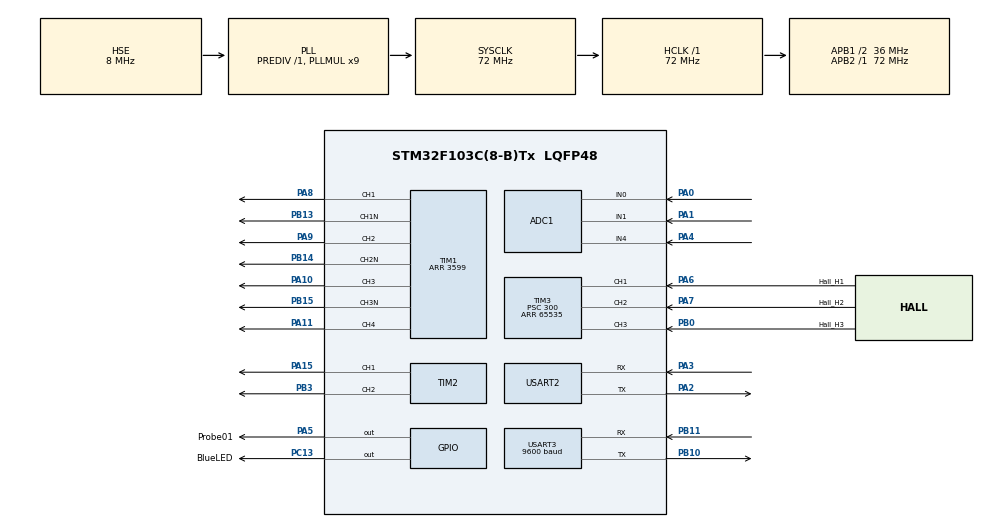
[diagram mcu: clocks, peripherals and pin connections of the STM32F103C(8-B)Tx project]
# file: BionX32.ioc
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ADC1.Channel-0\#ChannelRegularConversion=ADC_CHANNEL_1
ADC1.Channel-14\#ChannelInjectedConversion=ADC_CHANNEL_0
ADC1.Channel-15\#ChannelRegularConversion=ADC_CHANNEL_4
ADC1.Channel-16\#ChannelRegularConversion=ADC_CHANNEL_TEMPSENSOR
ADC1.ContinuousConvMode=ENABLE
ADC1.EnableInjectedConversion=ENABLE
ADC1.ExternalTrigInjecConv=ADC_EXTERNALTRIGINJECCONV_T1_TRGO
ADC1.InjNumberOfConversion=1
ADC1.InjectedOffset-14\#ChannelInjectedConversion=0
ADC1.InjectedRank-14\#ChannelInjectedConversion=1
ADC1.NbrOfConversion=3
ADC1.NbrOfConversionFlag=1
ADC1.Rank-15\#ChannelRegularConversion=2
ADC1.Rank-16\#ChannelRegularConversion=3
ADC1.SamplingTime-0\#ChannelRegularConversion=ADC_SAMPLETIME_28CYCLES_5
ADC1.SamplingTime-14\#ChannelInjectedConversion=ADC_SAMPLETIME_1CYCLE_5
ADC1.SamplingTime-15\#ChannelRegularConversion=ADC_SAMPLETIME_28CYCLES_5
ADC1.SamplingTime-16\#ChannelRegularConversion=ADC_SAMPLETIME_28CYCLES_5
ADC1.master=1
Dma.ADC1.0.Direction=DMA_PERIPH_TO_MEMORY
Dma.ADC1.0.Instance=DMA1_Channel1
Dma.ADC1.0.MemDataAlignment=DMA_MDATAALIGN_WORD
Dma.ADC1.0.MemInc=DMA_MINC_ENABLE
Dma.ADC1.0.Mode=DMA_CIRCULAR
Dma.ADC1.0.PeriphDataAlignment=DMA_PDATAALIGN_WORD
Dma.ADC1.0.PeriphInc=DMA_PINC_DISABLE
Dma.ADC1.0.Priority=DMA_PRIORITY_LOW
Dma.Request0=ADC1
Mcu.Family=STM32F1
Mcu.Name=STM32F103C(8-B)Tx
Mcu.Package=LQFP48
NVIC.ADC1_2_IRQn=true\:0\:0\:false\:false\:true\:true\:true\:true
NVIC.DMA1_Channel1_IRQn=true\:0\:0\:false\:true\:true\:1\:false\:true\:true
NVIC.PriorityGroup=NVIC_PRIORITYGROUP_4
NVIC.TIM3_IRQn=true\:3\:0\:true\:true\:true\:6\:true\:true\:true
NVIC.TIM4_IRQn=true\:0\:0\:false\:false\:true\:true\:true\:true
NVIC.USART2_IRQn=true\:0\:0\:false\:true\:true\:5\:true\:true\:true
NVIC.USART3_IRQn=true\:0\:0\:false\:true\:true\:7\:true\:true\:true
PA0-WKUP.Signal=ADCx_IN0
PA1.Signal=ADCx_IN1
PA10.Signal=S_TIM1_CH3
PA11.Signal=S_TIM1_CH4
PA13.Mode=Serial_Wire
PA13.Signal=SYS_JTMS-SWDIO
PA14.Mode=Serial_Wire
PA14.Signal=SYS_JTCK-SWCLK
PA15.Signal=S_TIM2_CH1_ETR
PA2.Mode=Asynchronous
PA2.Signal=USART2_TX
PA3.Mode=Asynchronous
PA3.Signal=USART2_RX
PA4.Signal=ADCx_IN4
PA5.GPIO_Label=Probe01
PA5.Signal=GPIO_Output
PA6.GPIO_Label=Hall_H1
PA6.Signal=S_TIM3_CH1
PA7.GPIO_Label=Hall_H2
PA7.Signal=S_TIM3_CH2
PA8.Signal=S_TIM1_CH1
PA9.Signal=S_TIM1_CH2
PB0.GPIO_Label=Hall_H3
PB0.Signal=S_TIM3_CH3
PB10.Mode=Asynchronous
PB10.Signal=USART3_TX
PB11.Mode=Asynchronous
PB11.Signal=USART3_RX
PB13.Mode=PWM Generation1 CH1 CH1N
PB13.Signal=TIM1_CH1N
PB14.Mode=PWM Generation2 CH2 CH2N
PB14.Signal=TIM1_CH2N
PB15.Mode=PWM Generation3 CH3 CH3N
PB15.Signal=TIM1_CH3N
PB3.Signal=S_TIM2_CH2
PC13-TAMPER-RTC.GPIO_Label=BlueLED
PC13-TAMPER-RTC.Signal=GPIO_Output
PD0-OSC_IN.Mode=HSE-External-Oscillator
PD0-OSC_IN.Signal=RCC_OSC_IN
PD1-OSC_OUT.Mode=HSE-External-Oscillator
PD1-OSC_OUT.Signal=RCC_OSC_OUT
ProjectManager.HeapSize=0x200
ProjectManager.StackSize=0x400
ProjectManager.TargetToolchain=Makefile
RCC.ADCPresc=RCC_ADCPCLK2_DIV6
RCC.AHBFreq_Value=72000000
RCC.APB1CLKDivider=RCC_HCLK_DIV2
RCC.APB1Freq_Value=36000000
RCC.APB1TimFreq_Value=72000000
RCC.APB2Freq_Value=72000000
RCC.APB2TimFreq_Value=72000000
RCC.HCLKFreq_Value=72000000
RCC.PLLMUL=RCC_PLL_MUL9
RCC.PLLSourceVirtual=RCC_PLLSOURCE_HSE
RCC.SYSCLKFreq_VALUE=72000000
RCC.SYSCLKSource=RCC_SYSCLKSOURCE_PLLCLK
RCC.USBFreq_Value=72000000
SH.ADCx_IN0.0=ADC1_IN0,IN0
SH.ADCx_IN1.0=ADC1_IN1,IN1
SH.ADCx_IN4.0=ADC1_IN4,IN4
SH.S_TIM1_CH1.0=TIM1_CH1,PWM Generation1 CH1 CH1N
SH.S_TIM1_CH2.0=TIM1_CH2,PWM Generation2 CH2 CH2N
SH.S_TIM1_CH3.0=TIM1_CH3,PWM Generation3 CH3 CH3N
SH.S_TIM1_CH4.0=TIM1_CH4,PWM Generation4 CH4
SH.S_TIM2_CH1_ETR.0=TIM2_CH1,PWM Generation1 CH1
SH.S_TIM2_CH2.0=TIM2_CH2,PWM Generation2 CH2
SH.S_TIM3_CH1.0=TIM3_CH1,Xored_Inputs_Hall_Sensor_Interface
SH.S_TIM3_CH2.0=TIM3_CH2,Xored_Inputs_Hall_Sensor_Interface
SH.S_TIM3_CH3.0=TIM3_CH3,Xored_Inputs_Hall_Sensor_Interface
TIM1.Channel-PWM\ Generation1\ CH1\ CH1N=TIM_CHANNEL_1
TIM1.Channel-PWM\ Generation2\ CH2\ CH2N=TIM_CHANNEL_2
TIM1.Channel-PWM\ Generation3\ CH3\ CH3N=TIM_CHANNEL_3
TIM1.Channel-PWM\ Generation4\ CH4=TIM_CHANNEL_4
TIM1.CounterMode=TIM_COUNTERMODE_CENTERALIGNED3
TIM1.DeadTime=72
TIM1.OCNIdleState_1=TIM_OCNIDLESTATE_SET
TIM1.OCNIdleState_2=TIM_OCNIDLESTATE_SET
TIM1.OCNIdleState_3=TIM_OCNIDLESTATE_SET
TIM1.OCNPolarity_1=TIM_OCNPOLARITY_LOW
TIM1.OCNPolarity_2=TIM_OCNPOLARITY_LOW
TIM1.OCNPolarity_3=TIM_OCNPOLARITY_LOW
TIM1.Period=3599
TIM1.Pulse-PWM\ Generation1\ CH1\ CH1N=1800
TIM1.Pulse-PWM\ Generation2\ CH2\ CH2N=1800
TIM1.Pulse-PWM\ Generation3\ CH3\ CH3N=1800
TIM1.TIM_MasterOutputTrigger=TIM_TRGO_OC4REF
TIM2.Channel-PWM\ Generation1\ CH1=TIM_CHANNEL_1
TIM2.Channel-PWM\ Generation2\ CH2=TIM_CHANNEL_2
TIM3.IC1Filter=MOTOR_HALL_IC_FILTER
TIM3.Period=65535
TIM3.Prescaler=300
TIM4.Period=300
TIM4.Prescaler=999
USART2.VirtualMode=VM_ASYNC
USART3.BaudRate=9600
USART3.VirtualMode=VM_ASYNC
VP_ADC1_TempSens_Input.Mode=IN-TempSens
VP_TIM3_VS_ClockSourceINT.Mode=Internal
VP_TIM4_VS_ClockSourceINT.Mode=Internal
board=custom

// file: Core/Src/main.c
/* USER CODE BEGIN Header */
/**
  ******************************************************************************
  * @file           : main.c
  * @brief          : Main program body
  ******************************************************************************
  * @attention
  *
  * Copyright (c) 2025 STMicroelectronics.
  * All rights reserved.
  *
  * This software is licensed under terms that can be found in the LICENSE file
  * in the root directory of this software component.
  * If no LICENSE file comes with this software, it is provided AS-IS.
  *
  ******************************************************************************
  */
/* USER CODE END Header */
#include "main.h"

/* USER CODE BEGIN Includes */
#include "UART_Printf.h"
#include "motorControl.h"
#include "busVoltageSensor.h"
#include "eBikeMain.h"

#include "display.h"

/* USER CODE END Includes */

ADC_HandleTypeDef hadc1;
DMA_HandleTypeDef hdma_adc1;

TIM_HandleTypeDef htim1;
TIM_HandleTypeDef htim2;
TIM_HandleTypeDef htim3;
TIM_HandleTypeDef htim4;

UART_HandleTypeDef huart2;
UART_HandleTypeDef huart3;

void SystemClock_Config(void);
static void MX_GPIO_Init(void);
static void MX_DMA_Init(void);
static void MX_USART2_UART_Init(void);
static void MX_USART3_UART_Init(void);
static void MX_ADC1_Init(void);
static void MX_TIM1_Init(void);
static void MX_TIM2_Init(void);
static void MX_TIM3_Init(void);
static void MX_TIM4_Init(void);
static void MX_NVIC_Init(void);
/* USER CODE BEGIN PFP */
static void BlueLed_Flashing(int n0, int n1);
/* USER CODE END PFP */

int main(void)
{

  /* MCU Configuration--------------------------------------------------------*/

  /* Reset of all peripherals, Initializes the Flash interface and the Systick. */
  HAL_Init();

  /* Configure the system clock */
  SystemClock_Config();

  /* Initialize all configured peripherals */
  MX_GPIO_Init();
  MX_DMA_Init();
  MX_USART2_UART_Init();
  MX_USART3_UART_Init();
  MX_ADC1_Init();
  MX_TIM1_Init();
  MX_TIM2_Init();
  MX_TIM3_Init();
  MX_TIM4_Init();

  /* Initialize interrupts */
  MX_NVIC_Init();
  /* USER CODE BEGIN 2 */

  UART_printf( "******* BIONX MOTOR version 1.00 *********\r\n");

  eBikeInit();

  /* USER CODE END 2 */

  /* Infinite loop */
  /* USER CODE BEGIN WHILE */
  while (1)
  {
    eBikeMainLoop();
    /* USER CODE END WHILE */

    /* USER CODE BEGIN 3 */
    Error_Handler();
  }
  /* USER CODE END 3 */
}

void SystemClock_Config(void)
{
  RCC_OscInitTypeDef RCC_OscInitStruct = {0};
  RCC_ClkInitTypeDef RCC_ClkInitStruct = {0};
  RCC_PeriphCLKInitTypeDef PeriphClkInit = {0};

  /** Initializes the RCC Oscillators according to the specified parameters
  * in the RCC_OscInitTypeDef structure.
  */
  RCC_OscInitStruct.OscillatorType = RCC_OSCILLATORTYPE_HSE;
  RCC_OscInitStruct.HSEState = RCC_HSE_ON;
  RCC_OscInitStruct.HSEPredivValue = RCC_HSE_PREDIV_DIV1;
  RCC_OscInitStruct.HSIState = RCC_HSI_ON;
  RCC_OscInitStruct.PLL.PLLState = RCC_PLL_ON;
  RCC_OscInitStruct.PLL.PLLSource = RCC_PLLSOURCE_HSE;
  RCC_OscInitStruct.PLL.PLLMUL = RCC_PLL_MUL9;
  if (HAL_RCC_OscConfig(&RCC_OscInitStruct) != HAL_OK)
  {
    Error_Handler();
  }

  /** Initializes the CPU, AHB and APB buses clocks
  */
  RCC_ClkInitStruct.ClockType = RCC_CLOCKTYPE_HCLK|RCC_CLOCKTYPE_SYSCLK
                              |RCC_CLOCKTYPE_PCLK1|RCC_CLOCKTYPE_PCLK2;
  RCC_ClkInitStruct.SYSCLKSource = RCC_SYSCLKSOURCE_PLLCLK;
  RCC_ClkInitStruct.AHBCLKDivider = RCC_SYSCLK_DIV1;
  RCC_ClkInitStruct.APB1CLKDivider = RCC_HCLK_DIV2;
  RCC_ClkInitStruct.APB2CLKDivider = RCC_HCLK_DIV1;

  if (HAL_RCC_ClockConfig(&RCC_ClkInitStruct, FLASH_LATENCY_2) != HAL_OK)
  {
    Error_Handler();
  }
  PeriphClkInit.PeriphClockSelection = RCC_PERIPHCLK_ADC;
  PeriphClkInit.AdcClockSelection = RCC_ADCPCLK2_DIV6;
  if (HAL_RCCEx_PeriphCLKConfig(&PeriphClkInit) != HAL_OK)
  {
    Error_Handler();
  }
}

/**
  * @brief NVIC Configuration.
  * @retval None
  */
static void MX_NVIC_Init(void)
{
  /* DMA1_Channel1_IRQn interrupt configuration */
  HAL_NVIC_SetPriority(DMA1_Channel1_IRQn, 0, 0);
  HAL_NVIC_EnableIRQ(DMA1_Channel1_IRQn);
  /* USART2_IRQn interrupt configuration */
  HAL_NVIC_SetPriority(USART2_IRQn, 0, 0);
  HAL_NVIC_EnableIRQ(USART2_IRQn);
  /* TIM3_IRQn interrupt configuration */
  HAL_NVIC_SetPriority(TIM3_IRQn, 3, 0);
  HAL_NVIC_EnableIRQ(TIM3_IRQn);
  /* USART3_IRQn interrupt configuration */
  HAL_NVIC_SetPriority(USART3_IRQn, 0, 0);
  HAL_NVIC_EnableIRQ(USART3_IRQn);
}

static void MX_ADC1_Init(void)
{

  ADC_InjectionConfTypeDef sConfigInjected = {0};
  ADC_ChannelConfTypeDef sConfig = {0};

  /** Common config
  */
  hadc1.Instance = ADC1;
  hadc1.Init.ScanConvMode = ADC_SCAN_ENABLE;
  hadc1.Init.ContinuousConvMode = ENABLE;
  hadc1.Init.DiscontinuousConvMode = DISABLE;
  hadc1.Init.ExternalTrigConv = ADC_SOFTWARE_START;
  hadc1.Init.DataAlign = ADC_DATAALIGN_RIGHT;
  hadc1.Init.NbrOfConversion = 3;
  if (HAL_ADC_Init(&hadc1) != HAL_OK)
  {
    Error_Handler();
  }

  /** Configure Injected Channel
  */
  sConfigInjected.InjectedChannel = ADC_CHANNEL_0;
  sConfigInjected.InjectedRank = ADC_INJECTED_RANK_1;
  sConfigInjected.InjectedNbrOfConversion = 1;
  sConfigInjected.InjectedSamplingTime = ADC_SAMPLETIME_1CYCLE_5;
  sConfigInjected.ExternalTrigInjecConv = ADC_EXTERNALTRIGINJECCONV_T1_TRGO;
  sConfigInjected.AutoInjectedConv = DISABLE;
  sConfigInjected.InjectedDiscontinuousConvMode = DISABLE;
  sConfigInjected.InjectedOffset = 0;
  if (HAL_ADCEx_InjectedConfigChannel(&hadc1, &sConfigInjected) != HAL_OK)
  {
    Error_Handler();
  }

  /** Configure Regular Channel
  */
  sConfig.Channel = ADC_CHANNEL_1;
  sConfig.Rank = ADC_REGULAR_RANK_1;
  sConfig.SamplingTime = ADC_SAMPLETIME_28CYCLES_5;
  if (HAL_ADC_ConfigChannel(&hadc1, &sConfig) != HAL_OK)
  {
    Error_Handler();
  }

  /** Configure Regular Channel
  */
  sConfig.Channel = ADC_CHANNEL_4;
  sConfig.Rank = ADC_REGULAR_RANK_2;
  if (HAL_ADC_ConfigChannel(&hadc1, &sConfig) != HAL_OK)
  {
    Error_Handler();
  }

  /** Configure Regular Channel
  */
  sConfig.Channel = ADC_CHANNEL_TEMPSENSOR;
  sConfig.Rank = ADC_REGULAR_RANK_3;
  if (HAL_ADC_ConfigChannel(&hadc1, &sConfig) != HAL_OK)
  {
    Error_Handler();
  }

}

static void MX_TIM1_Init(void)
{

  TIM_MasterConfigTypeDef sMasterConfig = {0};
  TIM_OC_InitTypeDef sConfigOC = {0};
  TIM_BreakDeadTimeConfigTypeDef sBreakDeadTimeConfig = {0};

  htim1.Instance = TIM1;
  htim1.Init.Prescaler = 0;
  htim1.Init.CounterMode = TIM_COUNTERMODE_CENTERALIGNED3;
  htim1.Init.Period = 3599;
  htim1.Init.ClockDivision = TIM_CLOCKDIVISION_DIV1;
  htim1.Init.RepetitionCounter = 0;
  htim1.Init.AutoReloadPreload = TIM_AUTORELOAD_PRELOAD_DISABLE;
  if (HAL_TIM_PWM_Init(&htim1) != HAL_OK)
  {
    Error_Handler();
  }
  sMasterConfig.MasterOutputTrigger = TIM_TRGO_OC4REF;
  sMasterConfig.MasterSlaveMode = TIM_MASTERSLAVEMODE_DISABLE;
  if (HAL_TIMEx_MasterConfigSynchronization(&htim1, &sMasterConfig) != HAL_OK)
  {
    Error_Handler();
  }
  sConfigOC.OCMode = TIM_OCMODE_PWM1;
  sConfigOC.Pulse = 1800;
  sConfigOC.OCPolarity = TIM_OCPOLARITY_HIGH;
  sConfigOC.OCNPolarity = TIM_OCNPOLARITY_LOW;
  sConfigOC.OCFastMode = TIM_OCFAST_DISABLE;
  sConfigOC.OCIdleState = TIM_OCIDLESTATE_RESET;
  sConfigOC.OCNIdleState = TIM_OCNIDLESTATE_SET;
  if (HAL_TIM_PWM_ConfigChannel(&htim1, &sConfigOC, TIM_CHANNEL_1) != HAL_OK)
  {
    Error_Handler();
  }
  if (HAL_TIM_PWM_ConfigChannel(&htim1, &sConfigOC, TIM_CHANNEL_2) != HAL_OK)
  {
    Error_Handler();
  }
  if (HAL_TIM_PWM_ConfigChannel(&htim1, &sConfigOC, TIM_CHANNEL_3) != HAL_OK)
  {
    Error_Handler();
  }
  sConfigOC.Pulse = 0;
  sConfigOC.OCNIdleState = TIM_OCNIDLESTATE_RESET;
  if (HAL_TIM_PWM_ConfigChannel(&htim1, &sConfigOC, TIM_CHANNEL_4) != HAL_OK)
  {
    Error_Handler();
  }
  sBreakDeadTimeConfig.OffStateRunMode = TIM_OSSR_DISABLE;
  sBreakDeadTimeConfig.OffStateIDLEMode = TIM_OSSI_DISABLE;
  sBreakDeadTimeConfig.LockLevel = TIM_LOCKLEVEL_OFF;
  sBreakDeadTimeConfig.DeadTime = 72;
  sBreakDeadTimeConfig.BreakState = TIM_BREAK_DISABLE;
  sBreakDeadTimeConfig.BreakPolarity = TIM_BREAKPOLARITY_HIGH;
  sBreakDeadTimeConfig.AutomaticOutput = TIM_AUTOMATICOUTPUT_DISABLE;
  if (HAL_TIMEx_ConfigBreakDeadTime(&htim1, &sBreakDeadTimeConfig) != HAL_OK)
  {
    Error_Handler();
  }
  HAL_TIM_MspPostInit(&htim1);

}

static void MX_TIM2_Init(void)
{

  TIM_MasterConfigTypeDef sMasterConfig = {0};
  TIM_OC_InitTypeDef sConfigOC = {0};

  htim2.Instance = TIM2;
  htim2.Init.Prescaler = 0;
  htim2.Init.CounterMode = TIM_COUNTERMODE_UP;
  htim2.Init.Period = 65535;
  htim2.Init.ClockDivision = TIM_CLOCKDIVISION_DIV1;
  htim2.Init.AutoReloadPreload = TIM_AUTORELOAD_PRELOAD_DISABLE;
  if (HAL_TIM_PWM_Init(&htim2) != HAL_OK)
  {
    Error_Handler();
  }
  sMasterConfig.MasterOutputTrigger = TIM_TRGO_RESET;
  sMasterConfig.MasterSlaveMode = TIM_MASTERSLAVEMODE_DISABLE;
  if (HAL_TIMEx_MasterConfigSynchronization(&htim2, &sMasterConfig) != HAL_OK)
  {
    Error_Handler();
  }
  sConfigOC.OCMode = TIM_OCMODE_PWM1;
  sConfigOC.Pulse = 0;
  sConfigOC.OCPolarity = TIM_OCPOLARITY_HIGH;
  sConfigOC.OCFastMode = TIM_OCFAST_DISABLE;
  if (HAL_TIM_PWM_ConfigChannel(&htim2, &sConfigOC, TIM_CHANNEL_1) != HAL_OK)
  {
    Error_Handler();
  }
  if (HAL_TIM_PWM_ConfigChannel(&htim2, &sConfigOC, TIM_CHANNEL_2) != HAL_OK)
  {
    Error_Handler();
  }
  HAL_TIM_MspPostInit(&htim2);

}

static void MX_TIM3_Init(void)
{

  TIM_ClockConfigTypeDef sClockSourceConfig = {0};
  TIM_HallSensor_InitTypeDef sConfig = {0};
  TIM_MasterConfigTypeDef sMasterConfig = {0};

  /* USER CODE BEGIN TIM3_Init 1 */
    // See https://deepbluembedded.com/stm32-timer-calculator/
  /* USER CODE END TIM3_Init 1 */
  htim3.Instance = TIM3;
  htim3.Init.Prescaler = 300;
  htim3.Init.CounterMode = TIM_COUNTERMODE_UP;
  htim3.Init.Period = 65535;
  htim3.Init.ClockDivision = TIM_CLOCKDIVISION_DIV1;
  htim3.Init.AutoReloadPreload = TIM_AUTORELOAD_PRELOAD_DISABLE;
  if (HAL_TIM_Base_Init(&htim3) != HAL_OK)
  {
    Error_Handler();
  }
  sClockSourceConfig.ClockSource = TIM_CLOCKSOURCE_INTERNAL;
  if (HAL_TIM_ConfigClockSource(&htim3, &sClockSourceConfig) != HAL_OK)
  {
    Error_Handler();
  }
  sConfig.IC1Polarity = TIM_ICPOLARITY_RISING;
  sConfig.IC1Prescaler = TIM_ICPSC_DIV1;
  sConfig.IC1Filter = MOTOR_HALL_IC_FILTER;
  sConfig.Commutation_Delay = 0;
  if (HAL_TIMEx_HallSensor_Init(&htim3, &sConfig) != HAL_OK)
  {
    Error_Handler();
  }
  sMasterConfig.MasterOutputTrigger = TIM_TRGO_OC2REF;
  sMasterConfig.MasterSlaveMode = TIM_MASTERSLAVEMODE_DISABLE;
  if (HAL_TIMEx_MasterConfigSynchronization(&htim3, &sMasterConfig) != HAL_OK)
  {
    Error_Handler();
  }

}

static void MX_TIM4_Init(void)
{

  /* USER CODE BEGIN TIM4_Init 0 */

   // Tout = ((ARR+1)*(PSC+1)) / 72E6

  /* USER CODE END TIM4_Init 0 */

  TIM_ClockConfigTypeDef sClockSourceConfig = {0};
  TIM_MasterConfigTypeDef sMasterConfig = {0};

  htim4.Instance = TIM4;
  htim4.Init.Prescaler = 300;
  htim4.Init.CounterMode = TIM_COUNTERMODE_UP;
  htim4.Init.Period = 300;
  htim4.Init.ClockDivision = TIM_CLOCKDIVISION_DIV1;
  htim4.Init.AutoReloadPreload = TIM_AUTORELOAD_PRELOAD_DISABLE;
  if (HAL_TIM_Base_Init(&htim4) != HAL_OK)
  {
    Error_Handler();
  }
  sClockSourceConfig.ClockSource = TIM_CLOCKSOURCE_INTERNAL;
  if (HAL_TIM_ConfigClockSource(&htim4, &sClockSourceConfig) != HAL_OK)
  {
    Error_Handler();
  }
  sMasterConfig.MasterOutputTrigger = TIM_TRGO_RESET;
  sMasterConfig.MasterSlaveMode = TIM_MASTERSLAVEMODE_DISABLE;
  if (HAL_TIMEx_MasterConfigSynchronization(&htim4, &sMasterConfig) != HAL_OK)
  {
    Error_Handler();
  }

}

static void MX_USART2_UART_Init(void)
{

  huart2.Instance = USART2;
  huart2.Init.BaudRate = 115200;
  huart2.Init.WordLength = UART_WORDLENGTH_8B;
  huart2.Init.StopBits = UART_STOPBITS_1;
  huart2.Init.Parity = UART_PARITY_NONE;
  huart2.Init.Mode = UART_MODE_TX_RX;
  huart2.Init.HwFlowCtl = UART_HWCONTROL_NONE;
  huart2.Init.OverSampling = UART_OVERSAMPLING_16;
  if (HAL_UART_Init(&huart2) != HAL_OK)
  {
    Error_Handler();
  }
  /* USER CODE BEGIN USART2_Init 2 */
    PrintfEndOfTx();
  /* USER CODE END USART2_Init 2 */

}

static void MX_USART3_UART_Init(void)
{

  huart3.Instance = USART3;
  huart3.Init.BaudRate = 9600;
  huart3.Init.WordLength = UART_WORDLENGTH_8B;
  huart3.Init.StopBits = UART_STOPBITS_1;
  huart3.Init.Parity = UART_PARITY_NONE;
  huart3.Init.Mode = UART_MODE_TX_RX;
  huart3.Init.HwFlowCtl = UART_HWCONTROL_NONE;
  huart3.Init.OverSampling = UART_OVERSAMPLING_16;
  if (HAL_UART_Init(&huart3) != HAL_OK)
  {
    Error_Handler();
  }
  /* USER CODE BEGIN USART3_Init 2 */

  displayInitRxTx();

  /* USER CODE END USART3_Init 2 */

}

static void MX_DMA_Init(void)
{

  /* DMA controller clock enable */
  __HAL_RCC_DMA1_CLK_ENABLE();

}

static void MX_GPIO_Init(void)
{
  GPIO_InitTypeDef GPIO_InitStruct = {0};

  /* GPIO Ports Clock Enable */
  __HAL_RCC_GPIOC_CLK_ENABLE();
  __HAL_RCC_GPIOD_CLK_ENABLE();
  __HAL_RCC_GPIOA_CLK_ENABLE();
  __HAL_RCC_GPIOB_CLK_ENABLE();

  /*Configure GPIO pin Output Level */
  HAL_GPIO_WritePin(BlueLED_GPIO_Port, BlueLED_Pin, GPIO_PIN_RESET);

  /*Configure GPIO pin Output Level */
  HAL_GPIO_WritePin(Probe01_GPIO_Port, Probe01_Pin, GPIO_PIN_RESET);

  /*Configure GPIO pin : BlueLED_Pin */
  GPIO_InitStruct.Pin = BlueLED_Pin;
  GPIO_InitStruct.Mode = GPIO_MODE_OUTPUT_PP;
  GPIO_InitStruct.Pull = GPIO_NOPULL;
  GPIO_InitStruct.Speed = GPIO_SPEED_FREQ_LOW;
  HAL_GPIO_Init(BlueLED_GPIO_Port, &GPIO_InitStruct);

  /*Configure GPIO pin : Probe01_Pin */
  GPIO_InitStruct.Pin = Probe01_Pin;
  GPIO_InitStruct.Mode = GPIO_MODE_OUTPUT_PP;
  GPIO_InitStruct.Pull = GPIO_NOPULL;
  GPIO_InitStruct.Speed = GPIO_SPEED_FREQ_LOW;
  HAL_GPIO_Init(Probe01_GPIO_Port, &GPIO_InitStruct);

}

/* USER CODE BEGIN 4 */
void HAL_UART_TxCpltCallback(UART_HandleTypeDef *huart)
{
    if ( huart == &huart2 ){
        PrintfEndOfTx();
    }
    if ( huart == &huart3 ){
        displayEndOfTx();
    }
}

void HAL_UART_RxCpltCallback(UART_HandleTypeDef *huart){
    if (huart->Instance == USART3){
        displayEndOfRx();
    }
}

/* Debug purpose endless function */
void BlueLed_Flashing(int n0, int n1)
{
    n0 *= 1000;
    n1 *= 1000;
  while (1)
  {
      int i;
      for ( i=0 ; i< n0 ; i++ ){
        BlueLED_on();
        BlueLED_on();
      }
      for ( i=0 ; i< n1 ; i++ ){
        BlueLED_off();
        BlueLED_off();
      }
  }
}

/* USER CODE END 4 */

void Error_Handler(void)
{
  /* USER CODE BEGIN Error_Handler_Debug */
  /* User can add his own implementation to report the HAL error return state */
  __disable_irq();
  BlueLed_Flashing(200, 20);
  /* USER CODE END Error_Handler_Debug */
}
